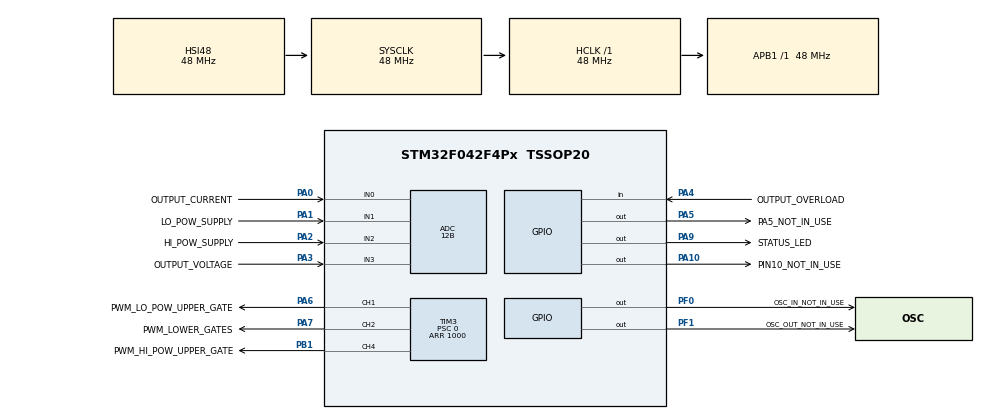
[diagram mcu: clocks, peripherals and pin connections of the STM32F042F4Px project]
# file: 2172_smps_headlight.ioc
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ADC.Channel-1\#ChannelRegularConversion=ADC_CHANNEL_1
ADC.Channel-2\#ChannelRegularConversion=ADC_CHANNEL_2
ADC.Channel-3\#ChannelRegularConversion=ADC_CHANNEL_3
ADC.Channel-IN0=ADC_CHANNEL_0
ADC.Channel-IN1=ADC_CHANNEL_1
ADC.Channel-IN2=ADC_CHANNEL_2
ADC.Channel-IN3=ADC_CHANNEL_3
ADC.ClockPrescaler=ADC_CLOCK_ASYNC_DIV1
ADC.ContinuousConvMode=ENABLE
ADC.DMAContinuousRequests=ENABLE
ADC.DataAlign=ADC_DATAALIGN_RIGHT
ADC.DiscontinuousConvMode=DISABLE
ADC.EOCSelection=ADC_EOC_SEQ_CONV
ADC.EnableAnalogWatchDog=false
ADC.ExternalTrigConv=ADC_SOFTWARE_START
ADC.ExternalTrigConvEdge=ADC_EXTERNALTRIGCONVEDGE_NONE
ADC.LowPowerAutoPowerOff=DISABLE
ADC.LowPowerAutoWait=DISABLE
ADC.NbrOfConversion=4
ADC.NbrOfConversionFlag=1
ADC.Overrun=ADC_OVR_DATA_PRESERVED
ADC.Rank-0\#ChannelRegularConversion=1
ADC.Rank-1\#ChannelRegularConversion=2
ADC.Rank-2\#ChannelRegularConversion=3
ADC.Rank-3\#ChannelRegularConversion=4
ADC.Resolution=ADC_RESOLUTION_12B
ADC.SamplingTime=ADC_SAMPLETIME_41CYCLES_5
ADC.ScanConvMode=ADC_SCAN_DIRECTION_FORWARD
ADC.master=1
Dma.ADC.0.Direction=DMA_PERIPH_TO_MEMORY
Dma.ADC.0.Instance=DMA1_Channel1
Dma.ADC.0.MemDataAlignment=DMA_MDATAALIGN_HALFWORD
Dma.ADC.0.MemInc=DMA_MINC_ENABLE
Dma.ADC.0.Mode=DMA_CIRCULAR
Dma.ADC.0.PeriphDataAlignment=DMA_PDATAALIGN_HALFWORD
Dma.ADC.0.PeriphInc=DMA_PINC_DISABLE
Dma.ADC.0.Priority=DMA_PRIORITY_LOW
Dma.Request0=ADC
Mcu.Family=STM32F0
Mcu.Name=STM32F042F4Px
Mcu.Package=TSSOP20
NVIC.ADC1_IRQn=true\:0\:0\:false\:false\:true\:true\:true
NVIC.DMA1_Channel1_IRQn=true\:0\:0\:false\:false\:true\:false\:true
NVIC.TIM3_IRQn=true\:0\:0\:false\:false\:true\:true\:true
PA0.GPIO_Label=OUTPUT_CURRENT
PA0.Mode=IN0
PA0.Signal=ADC_IN0
PA1.GPIO_Label=LO_POW_SUPPLY
PA1.Mode=IN1
PA1.Signal=ADC_IN1
PA10.GPIO_Label=PIN10_NOT_IN_USE
PA10.Signal=GPIO_Output
PA13.Mode=Serial_Wire
PA13.Signal=SYS_SWDIO
PA14.Mode=Serial_Wire
PA14.Signal=SYS_SWCLK
PA2.GPIO_Label=HI_POW_SUPPLY
PA2.Mode=IN2
PA2.Signal=ADC_IN2
PA3.GPIO_Label=OUTPUT_VOLTAGE
PA3.Mode=IN3
PA3.Signal=ADC_IN3
PA4.GPIO_Label=OUTPUT_OVERLOAD
PA4.Signal=GPIO_Input
PA5.GPIO_Label=PA5_NOT_IN_USE
PA5.Signal=GPIO_Output
PA6.GPIO_Label=PWM_LO_POW_UPPER_GATE
PA6.Signal=S_TIM3_CH1
PA7.GPIO_Label=PWM_LOWER_GATES
PA7.Signal=S_TIM3_CH2
PA9.GPIO_Label=STATUS_LED
PA9.Signal=GPIO_Output
PB1.GPIO_Label=PWM_HI_POW_UPPER_GATE
PB1.Signal=S_TIM3_CH4
PF0-OSC_IN.GPIO_Label=OSC_IN_NOT_IN_USE
PF0-OSC_IN.Signal=GPIO_Output
PF1-OSC_OUT.GPIO_Label=OSC_OUT_NOT_IN_USE
PF1-OSC_OUT.Signal=GPIO_Output
ProjectManager.HeapSize=0x200
ProjectManager.StackSize=0x400
ProjectManager.TargetToolchain=EWARM V8.32
RCC.AHBFreq_Value=48000000
RCC.APB1Freq_Value=48000000
RCC.APB1TimFreq_Value=48000000
RCC.FLatency=FLASH_LATENCY_1
RCC.HCLKFreq_Value=48000000
RCC.SYSCLKFreq_VALUE=48000000
RCC.SYSCLKSource=RCC_SYSCLKSOURCE_HSI48
SH.S_TIM3_CH1.0=TIM3_CH1,PWM Generation1 CH1
SH.S_TIM3_CH2.0=TIM3_CH2,PWM Generation2 CH2
SH.S_TIM3_CH4.0=TIM3_CH4,PWM Generation4 CH4
TIM3.AutoReloadPreload=TIM_AUTORELOAD_PRELOAD_DISABLE
TIM3.Channel-PWM\ Generation1\ CH1=TIM_CHANNEL_1
TIM3.Channel-PWM\ Generation2\ CH2=TIM_CHANNEL_2
TIM3.Channel-PWM\ Generation4\ CH4=TIM_CHANNEL_4
TIM3.ClockDivision=TIM_CLOCKDIVISION_DIV1
TIM3.CounterMode=TIM_COUNTERMODE_CENTERALIGNED3
TIM3.OC1Preload_PWM=ENABLE
TIM3.OC2Preload_PWM=ENABLE
TIM3.OC4Preload_PWM=ENABLE
TIM3.OCFastMode_PWM-PWM\ Generation1\ CH1=TIM_OCFAST_DISABLE
TIM3.OCFastMode_PWM-PWM\ Generation2\ CH2=TIM_OCFAST_DISABLE
TIM3.OCFastMode_PWM-PWM\ Generation4\ CH4=TIM_OCFAST_DISABLE
TIM3.OCMode_PWM-PWM\ Generation1\ CH1=TIM_OCMODE_PWM2
TIM3.OCMode_PWM-PWM\ Generation2\ CH2=TIM_OCMODE_PWM1
TIM3.OCMode_PWM-PWM\ Generation4\ CH4=TIM_OCMODE_PWM2
TIM3.OCPolarity_1=TIM_OCPOLARITY_LOW
TIM3.OCPolarity_2=TIM_OCPOLARITY_LOW
TIM3.OCPolarity_4=TIM_OCPOLARITY_LOW
TIM3.Period=1000
TIM3.Prescaler=0
TIM3.Pulse-PWM\ Generation1\ CH1=0
TIM3.Pulse-PWM\ Generation2\ CH2=0
TIM3.Pulse-PWM\ Generation4\ CH4=0
TIM3.TIM_MasterOutputTrigger=TIM_TRGO_UPDATE
TIM3.TIM_MasterSlaveMode=TIM_MASTERSLAVEMODE_DISABLE
VP_TIM3_VS_ClockSourceINT.Mode=Internal
board=custom

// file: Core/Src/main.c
/* USER CODE BEGIN Header */
/**
  ******************************************************************************
  * @file           : main.c
  * @brief          : Main program body
  ******************************************************************************
  * @attention
  *
  * <h2><center>&copy; Copyright (c) 2021 STMicroelectronics.
  * All rights reserved.</center></h2>
  *
  * This software component is licensed by ST under BSD 3-Clause license,
  * the "License"; You may not use this file except in compliance with the
  * License. You may obtain a copy of the License at:
  *                        opensource.org/licenses/BSD-3-Clause
  *
  ******************************************************************************
  */
/* USER CODE END Header */
#include "main.h"

/* USER CODE BEGIN PTD */
typedef struct {
	uint16_t		outCurrentFB;
	uint16_t 		loPowSupVolt;
	uint16_t 		hiPowSupVolt;
	uint16_t 		outVoltageFB;
} ProcVal_TypeDef;
typedef union {
	uint16_t 		codes[ADC_DMA_BUFFER_SIZE];
	ProcVal_TypeDef values;
} ADC_MapTypeDef;
typedef enum {
    ADC_IDLE,
    CONVERSION_COMPLETE
} ADC_StatusTypeDef;
typedef enum {
	LO_POW_SUPPLY,
	HI_POW_SUPPLY,
	SUPPLY_FAILURE
} POW_SupplyStatus;
typedef enum {
    START_UP,
    OVERLOAD,
    NORMAL,
    LOAD_TEST,
    HAULT
} DEV_OpModeTypeDef;
typedef enum {
	PID_IDLE,
	UPDATE_PENDING
} PID_StatusTypeDef;

/* USER CODE END PTD */

ADC_HandleTypeDef hadc;
DMA_HandleTypeDef hdma_adc;

TIM_HandleTypeDef htim3;

/* USER CODE BEGIN PV */

ADC_MapTypeDef		adcReadings;
ADC_StatusTypeDef   adcStatus               = ADC_IDLE;
PID_StatusTypeDef   pidStatus               = PID_IDLE;
DEV_OpModeTypeDef   devOpMode               = START_UP;
POW_SupplyStatus	supplyStatus            = SUPPLY_FAILURE;

uint16_t			pidSamplingCnt;
uint16_t			ledBlinkCnt;
uint8_t             numOfAttemptsCnt;
uint16_t            overloadTimeoutCnt;
uint32_t            startUpCnt;

uint32_t            activeUpperChannel      = TIM_CHANNEL_1;
uint32_t            activeLowerChannel      = TIM_CHANNEL_2;

int16_t				pidPulseWidth;
uint16_t			pwmPulseWidth;

int16_t				pidVLoopSetPoint;
int16_t				pidCLoopSetPoint;
int16_t				pidVLoopCtrlError;
int16_t             pidVLoopCtrlErrorD;
int16_t             pidCLoopCtrlError;
int16_t             pidCLoopCtrlErrorD;
int16_t             pidCLoopCtrlErrorDD;

uint8_t             startUpDelay            = 1;
uint16_t            ledBlinkDly;

uint16_t            movAvgArrPtr            = 0;
uint16_t            avgOutVoltFB[MOV_AVG_WINDOW];
uint16_t            avgOutCurrFB[MOV_AVG_WINDOW];
uint16_t            avgLoPowSupVolt;
uint16_t            avgHiPowSupVolt;
uint16_t            avgOutVoltageFB;
uint16_t            avgOutCurrentFB;
uint32_t            sumOutVoltFB;
uint32_t            sumOutCurrFB;

/* USER CODE END PV */

void SystemClock_Config(void);
static void MX_GPIO_Init(void);
static void MX_DMA_Init(void);
static void MX_ADC_Init(void);
static void MX_TIM3_Init(void);

int main(void)
{

  /* MCU Configuration--------------------------------------------------------*/

  /* Reset of all peripherals, Initializes the Flash interface and the Systick. */
  HAL_Init();

  /* Configure the system clock */
  SystemClock_Config();

  /* Initialize all configured peripherals */
  MX_GPIO_Init();
  MX_DMA_Init();
  MX_ADC_Init();
  MX_TIM3_Init();
  /* USER CODE BEGIN 2 */
    // Initiate continuous conversion with DMA
	HAL_ADC_Start_DMA(&hadc, (uint32_t*)&adcReadings.codes, ADC_DMA_BUFFER_SIZE);
    // Start all PWM channels
    __HAL_TIM_SET_COMPARE(&htim3, TIM_CHANNEL_4, 0);
    __HAL_TIM_SET_COMPARE(&htim3, TIM_CHANNEL_1, 0);
    __HAL_TIM_SET_COMPARE(&htim3, TIM_CHANNEL_2, PWM_PERIOD_CODE);
    HAL_TIM_PWM_Start(&htim3, TIM_CHANNEL_2);
    HAL_TIM_PWM_Start(&htim3, TIM_CHANNEL_1);
    HAL_TIM_PWM_Start(&htim3, TIM_CHANNEL_4);
    __HAL_TIM_ENABLE_IT(&htim3, TIM_IT_UPDATE);

  /* USER CODE END 2 */

  /* Infinite loop */
  /* USER CODE BEGIN WHILE */
  while (1)
  {
    if (startUpDelay == 1)
    {
        HAL_Delay(100);
        startUpDelay = 0;
    }
    if (adcStatus == CONVERSION_COMPLETE)
    {
        movAvgArrPtr = ++movAvgArrPtr == MOV_AVG_WINDOW ? 0 : movAvgArrPtr;

        sumOutVoltFB -= (uint32_t)avgOutVoltFB[movAvgArrPtr];
        avgOutVoltFB[movAvgArrPtr] = adcReadings.values.outVoltageFB;
        sumOutVoltFB += (uint32_t)avgOutVoltFB[movAvgArrPtr];

        sumOutCurrFB -= (uint32_t)avgOutCurrFB[movAvgArrPtr];
        avgOutCurrFB[movAvgArrPtr] = adcReadings.values.outCurrentFB;
        sumOutCurrFB += (uint32_t)avgOutCurrFB[movAvgArrPtr];

        avgOutVoltageFB = (uint32_t)(sumOutVoltFB / MOV_AVG_WINDOW);
        avgOutCurrentFB = (uint16_t)(sumOutCurrFB / MOV_AVG_WINDOW);

    }
    /* USER CODE END WHILE */

  }
}

void SystemClock_Config(void)
{
  RCC_OscInitTypeDef RCC_OscInitStruct = {0};
  RCC_ClkInitTypeDef RCC_ClkInitStruct = {0};

  /** Initializes the RCC Oscillators according to the specified parameters
  * in the RCC_OscInitTypeDef structure.
  */
  RCC_OscInitStruct.OscillatorType = RCC_OSCILLATORTYPE_HSI14|RCC_OSCILLATORTYPE_HSI48;
  RCC_OscInitStruct.HSI48State = RCC_HSI48_ON;
  RCC_OscInitStruct.HSI14State = RCC_HSI14_ON;
  RCC_OscInitStruct.HSI14CalibrationValue = 16;
  RCC_OscInitStruct.PLL.PLLState = RCC_PLL_NONE;
  if (HAL_RCC_OscConfig(&RCC_OscInitStruct) != HAL_OK)
  {
    Error_Handler();
  }
  /** Initializes the CPU, AHB and APB buses clocks
  */
  RCC_ClkInitStruct.ClockType = RCC_CLOCKTYPE_HCLK|RCC_CLOCKTYPE_SYSCLK
                              |RCC_CLOCKTYPE_PCLK1;
  RCC_ClkInitStruct.SYSCLKSource = RCC_SYSCLKSOURCE_HSI48;
  RCC_ClkInitStruct.AHBCLKDivider = RCC_SYSCLK_DIV1;
  RCC_ClkInitStruct.APB1CLKDivider = RCC_HCLK_DIV1;

  if (HAL_RCC_ClockConfig(&RCC_ClkInitStruct, FLASH_LATENCY_1) != HAL_OK)
  {
    Error_Handler();
  }
}

static void MX_ADC_Init(void)
{

  ADC_ChannelConfTypeDef sConfig = {0};

  /** Configure the global features of the ADC (Clock, Resolution, Data Alignment and number of conversion)
  */
  hadc.Instance = ADC1;
  hadc.Init.ClockPrescaler = ADC_CLOCK_ASYNC_DIV1;
  hadc.Init.Resolution = ADC_RESOLUTION_12B;
  hadc.Init.DataAlign = ADC_DATAALIGN_RIGHT;
  hadc.Init.ScanConvMode = ADC_SCAN_DIRECTION_FORWARD;
  hadc.Init.EOCSelection = ADC_EOC_SEQ_CONV;
  hadc.Init.LowPowerAutoWait = DISABLE;
  hadc.Init.LowPowerAutoPowerOff = DISABLE;
  hadc.Init.ContinuousConvMode = ENABLE;
  hadc.Init.DiscontinuousConvMode = DISABLE;
  hadc.Init.ExternalTrigConv = ADC_SOFTWARE_START;
  hadc.Init.ExternalTrigConvEdge = ADC_EXTERNALTRIGCONVEDGE_NONE;
  hadc.Init.DMAContinuousRequests = ENABLE;
  hadc.Init.Overrun = ADC_OVR_DATA_PRESERVED;
  if (HAL_ADC_Init(&hadc) != HAL_OK)
  {
    Error_Handler();
  }
  /** Configure for the selected ADC regular channel to be converted.
  */
  sConfig.Channel = ADC_CHANNEL_0;
  sConfig.Rank = ADC_RANK_CHANNEL_NUMBER;
  sConfig.SamplingTime = ADC_SAMPLETIME_41CYCLES_5;
  if (HAL_ADC_ConfigChannel(&hadc, &sConfig) != HAL_OK)
  {
    Error_Handler();
  }
  /** Configure for the selected ADC regular channel to be converted.
  */
  sConfig.Channel = ADC_CHANNEL_1;
  if (HAL_ADC_ConfigChannel(&hadc, &sConfig) != HAL_OK)
  {
    Error_Handler();
  }
  /** Configure for the selected ADC regular channel to be converted.
  */
  sConfig.Channel = ADC_CHANNEL_2;
  if (HAL_ADC_ConfigChannel(&hadc, &sConfig) != HAL_OK)
  {
    Error_Handler();
  }
  /** Configure for the selected ADC regular channel to be converted.
  */
  sConfig.Channel = ADC_CHANNEL_3;
  if (HAL_ADC_ConfigChannel(&hadc, &sConfig) != HAL_OK)
  {
    Error_Handler();
  }

}

static void MX_TIM3_Init(void)
{

  TIM_ClockConfigTypeDef sClockSourceConfig = {0};
  TIM_MasterConfigTypeDef sMasterConfig = {0};
  TIM_OC_InitTypeDef sConfigOC = {0};

  htim3.Instance = TIM3;
  htim3.Init.Prescaler = 0;
  htim3.Init.CounterMode = TIM_COUNTERMODE_CENTERALIGNED3;
  htim3.Init.Period = PWM_PERIOD_CODE;
  htim3.Init.ClockDivision = TIM_CLOCKDIVISION_DIV1;
  htim3.Init.AutoReloadPreload = TIM_AUTORELOAD_PRELOAD_DISABLE;
  if (HAL_TIM_Base_Init(&htim3) != HAL_OK)
  {
    Error_Handler();
  }
  sClockSourceConfig.ClockSource = TIM_CLOCKSOURCE_INTERNAL;
  if (HAL_TIM_ConfigClockSource(&htim3, &sClockSourceConfig) != HAL_OK)
  {
    Error_Handler();
  }
  if (HAL_TIM_PWM_Init(&htim3) != HAL_OK)
  {
    Error_Handler();
  }
  sMasterConfig.MasterOutputTrigger = TIM_TRGO_UPDATE;
  sMasterConfig.MasterSlaveMode = TIM_MASTERSLAVEMODE_DISABLE;
  if (HAL_TIMEx_MasterConfigSynchronization(&htim3, &sMasterConfig) != HAL_OK)
  {
    Error_Handler();
  }
  sConfigOC.OCMode = TIM_OCMODE_PWM2;
  sConfigOC.Pulse = 0;
  sConfigOC.OCPolarity = TIM_OCPOLARITY_LOW;
  sConfigOC.OCFastMode = TIM_OCFAST_DISABLE;
  if (HAL_TIM_PWM_ConfigChannel(&htim3, &sConfigOC, TIM_CHANNEL_1) != HAL_OK)
  {
    Error_Handler();
  }
  sConfigOC.OCMode = TIM_OCMODE_PWM1;
  if (HAL_TIM_PWM_ConfigChannel(&htim3, &sConfigOC, TIM_CHANNEL_2) != HAL_OK)
  {
    Error_Handler();
  }
  sConfigOC.OCMode = TIM_OCMODE_PWM2;
  if (HAL_TIM_PWM_ConfigChannel(&htim3, &sConfigOC, TIM_CHANNEL_4) != HAL_OK)
  {
    Error_Handler();
  }
  HAL_TIM_MspPostInit(&htim3);

}

static void MX_DMA_Init(void)
{

  /* DMA controller clock enable */
  __HAL_RCC_DMA1_CLK_ENABLE();

  /* DMA interrupt init */
  /* DMA1_Channel1_IRQn interrupt configuration */
  HAL_NVIC_SetPriority(DMA1_Channel1_IRQn, 0, 0);
  HAL_NVIC_EnableIRQ(DMA1_Channel1_IRQn);

}

static void MX_GPIO_Init(void)
{
  GPIO_InitTypeDef GPIO_InitStruct = {0};

  /* GPIO Ports Clock Enable */
  __HAL_RCC_GPIOF_CLK_ENABLE();
  __HAL_RCC_GPIOA_CLK_ENABLE();
  __HAL_RCC_GPIOB_CLK_ENABLE();

  /*Configure GPIO pin Output Level */
  HAL_GPIO_WritePin(GPIOF, OSC_IN_NOT_IN_USE_Pin|OSC_OUT_NOT_IN_USE_Pin, GPIO_PIN_RESET);

  /*Configure GPIO pin Output Level */
  HAL_GPIO_WritePin(GPIOA, PA5_NOT_IN_USE_Pin|STATUS_LED_Pin|PIN10_NOT_IN_USE_Pin, GPIO_PIN_RESET);

  /*Configure GPIO pins : OSC_IN_NOT_IN_USE_Pin OSC_OUT_NOT_IN_USE_Pin */
  GPIO_InitStruct.Pin = OSC_IN_NOT_IN_USE_Pin|OSC_OUT_NOT_IN_USE_Pin;
  GPIO_InitStruct.Mode = GPIO_MODE_OUTPUT_PP;
  GPIO_InitStruct.Pull = GPIO_NOPULL;
  GPIO_InitStruct.Speed = GPIO_SPEED_FREQ_LOW;
  HAL_GPIO_Init(GPIOF, &GPIO_InitStruct);

  /*Configure GPIO pin : OUTPUT_OVERLOAD_Pin */
  GPIO_InitStruct.Pin = OUTPUT_OVERLOAD_Pin;
  GPIO_InitStruct.Mode = GPIO_MODE_INPUT;
  GPIO_InitStruct.Pull = GPIO_NOPULL;
  HAL_GPIO_Init(OUTPUT_OVERLOAD_GPIO_Port, &GPIO_InitStruct);

  /*Configure GPIO pins : PA5_NOT_IN_USE_Pin STATUS_LED_Pin PIN10_NOT_IN_USE_Pin */
  GPIO_InitStruct.Pin = PA5_NOT_IN_USE_Pin|STATUS_LED_Pin|PIN10_NOT_IN_USE_Pin;
  GPIO_InitStruct.Mode = GPIO_MODE_OUTPUT_PP;
  GPIO_InitStruct.Pull = GPIO_NOPULL;
  GPIO_InitStruct.Speed = GPIO_SPEED_FREQ_LOW;
  HAL_GPIO_Init(GPIOA, &GPIO_InitStruct);

}

/* USER CODE BEGIN 4 */

void HAL_TIM_PeriodElapsedCallback(TIM_HandleTypeDef* htim)
{
	uint16_t        expectedScOutVolt;

    if (startUpDelay == 1) return;
    // Increment PID sampling counter and test for overflow
	// On PID sampling counter overflow, set UPDATE_PENDING flag
	// to tell the ADC interrupt routine that PID sampling time
	// has elapsed and PID needs to be updated
    pidSamplingCnt++;
	if (pidSamplingCnt > PID_PERIOD_CODE)
	{
		pidSamplingCnt = 0;
		pidStatus = UPDATE_PENDING;
	}

	ledBlinkCnt++;
	if (ledBlinkCnt > ledBlinkDly)
	{
        HAL_GPIO_TogglePin(STATUS_LED_GPIO_Port, STATUS_LED_Pin);
		ledBlinkCnt = 0;
	}

    switch (devOpMode)
    {
    case START_UP:
        startUpCnt++;
        overloadTimeoutCnt = 0;
    break;
    case OVERLOAD:
        startUpCnt = 0;
        overloadTimeoutCnt++;
    break;
    case LOAD_TEST:
        startUpCnt++;
        overloadTimeoutCnt = 0;
    break;
    case NORMAL:
        startUpCnt = 0;
        overloadTimeoutCnt = 0;
    break;
    }

    if (devOpMode == HAULT) return;

    if (pidStatus == UPDATE_PENDING)
    {
        //__disable_irq();
        // Get output voltage regulation error
        pidVLoopCtrlError = pidVLoopSetPoint - adcReadings.values.outVoltageFB;
        // Get output current regulation error
        pidCLoopCtrlError = pidCLoopSetPoint - adcReadings.values.outCurrentFB;

        switch (devOpMode)
        {
        case START_UP:
            if ((startUpCnt > START_UP_DLY) && (avgOutVoltageFB < 100))
            {
                devOpMode = OVERLOAD;
                pidPulseWidth = 0;
            }
            if (startUpCnt > OVERLOAD_DLY)
            {
                devOpMode = HAULT;
            }
            if ((avgOutVoltageFB > (pidVLoopSetPoint - 100)) ||
               ((avgOutVoltageFB < pidVLoopSetPoint) && (pwmPulseWidth > 465)))
            {
                devOpMode = NORMAL;
                numOfAttemptsCnt = 0;
            }
            pidPulseWidth = pidPulseWidth + (int16_t)(
                (pidCLoopCtrlError - pidCLoopCtrlErrorD) / PID_CLP_KP +
                (pidCLoopCtrlError + pidCLoopCtrlErrorD) / PID_CLP_KI +
                (pidCLoopCtrlError -
                 2 * pidCLoopCtrlErrorD + pidCLoopCtrlErrorDD) / PID_CLP_KD);
        break;
        case OVERLOAD:
            if (overloadTimeoutCnt > OVLD_TIMEOUT)
            {
                devOpMode = LOAD_TEST;
                numOfAttemptsCnt++;
            }
            if (numOfAttemptsCnt > NUM_OF_ATTEMPTS_TO_START)
            {
                devOpMode = HAULT;
            }
        break;
        case LOAD_TEST:
            if (adcReadings.values.outCurrentFB > pidCLoopSetPoint)
            {
                pidPulseWidth = 0;
            }
            else
            {
                pidPulseWidth = PID_TO_PWM * PWM_DEAD_TIME;
            }
            if (startUpCnt > START_UP_DLY)
            {
                expectedScOutVolt =
                    (uint16_t)(PWM_DEAD_TIME * adcReadings.values.loPowSupVolt / 1000);
                if (avgOutVoltageFB > expectedScOutVolt)
                {
                    devOpMode = START_UP;
                    startUpCnt = 0;
                }
                else
                {
                    devOpMode = OVERLOAD;
                    pidPulseWidth = 0;
                }
            }
        break;
        case NORMAL:
            if (avgOutCurrentFB > LOAD_CUR_UTHLD_CODE)
            {
                devOpMode = START_UP;
            }
            else if ((adcReadings.values.outVoltageFB < LOAD_SC_VOLT_CODE) &&
                     (adcReadings.values.outCurrentFB > LOAD_SC_CUR_CODE))
            {
                devOpMode = OVERLOAD;
                pidPulseWidth = 0;
                numOfAttemptsCnt = 0;
            }
            else
            {
                pidPulseWidth = pidPulseWidth + (int16_t)(
                    (pidVLoopCtrlError - pidVLoopCtrlErrorD) / PID_VLP_KP +
                    (pidVLoopCtrlError + pidVLoopCtrlErrorD) / PID_VLP_KI);
            }
        break;
        }

        pidCLoopCtrlErrorDD = pidCLoopCtrlErrorD;
        pidCLoopCtrlErrorD  = pidCLoopCtrlError;
        pidVLoopCtrlErrorD  = pidVLoopCtrlError;

        pidPulseWidth = PID_CHECK_UTHLD(pidPulseWidth);
        pidPulseWidth = PID_CHECK_LTHLD(pidPulseWidth);
        pwmPulseWidth = GET_PWM_PULSE(pidPulseWidth);
        pwmPulseWidth = PWM_CHECK_UTHLD(pwmPulseWidth);
        pwmPulseWidth = PWM_CHECK_LTHLD(pwmPulseWidth);
        // Reset pid-regulator status
        pidStatus = PID_IDLE;
        //__enable_irq();
    }
}

/*
 * @brief Conversion complete callback in non-blocking mode
 * @param hadc: pointer to the ADC handle
 * @retval None
 */
void HAL_ADC_ConvCpltCallback(ADC_HandleTypeDef* hadc)
{
    uint16_t        pwmUpperPulseWidth;
    uint16_t        pwmLowerPulseWidth;

    //if (startUpDelay == 1) return;
    adcStatus = CONVERSION_COMPLETE;
    pwmUpperPulseWidth = pwmPulseWidth;
    pwmLowerPulseWidth = pwmPulseWidth + 2 * PWM_DEAD_TIME;

    switch (supplyStatus)
    {
    case SUPPLY_FAILURE:
        ledBlinkDly = 5000;
        if (devOpMode == HAULT)
        {
            supplyStatus = SUPPLY_FAILURE;
            __HAL_TIM_SET_COMPARE(&htim3, TIM_CHANNEL_1, 0);
            __HAL_TIM_SET_COMPARE(&htim3, TIM_CHANNEL_4, 0);
        }
        else if (adcReadings.values.hiPowSupVolt > POW_HYST_UTHLD_CODE)
        {
            activeUpperChannel = TIM_CHANNEL_4;
            ledBlinkDly = 10000;
            pidVLoopSetPoint = PID_VLP_BRT_SP_CODE;
            pidCLoopSetPoint = PID_CLP_BRT_SP_CODE;
            __HAL_TIM_SET_COMPARE(&htim3, TIM_CHANNEL_1, 0);
            supplyStatus = HI_POW_SUPPLY;
            devOpMode = START_UP;
        }
        else if (adcReadings.values.loPowSupVolt > POW_HYST_UTHLD_CODE)
        {
            activeUpperChannel = TIM_CHANNEL_1;
            ledBlinkDly = 30000;
            pidVLoopSetPoint = PID_VLP_DIM_SP_CODE;
            pidCLoopSetPoint = PID_CLP_DIM_SP_CODE;
            __HAL_TIM_SET_COMPARE(&htim3, TIM_CHANNEL_4, 0);
            supplyStatus = LO_POW_SUPPLY;
            devOpMode = START_UP;
        }
    break;

    case HI_POW_SUPPLY:
        if ((devOpMode == HAULT) ||
            (adcReadings.values.hiPowSupVolt < POW_HYST_LTHLD_CODE))
        {
            supplyStatus = SUPPLY_FAILURE;
        }
        __HAL_TIM_SET_COMPARE(&htim3, activeUpperChannel, pwmUpperPulseWidth);
        __HAL_TIM_SET_COMPARE(&htim3, activeLowerChannel, pwmLowerPulseWidth);
    break;

    case LO_POW_SUPPLY:
        if ((devOpMode == HAULT) ||
            (adcReadings.values.loPowSupVolt < POW_HYST_LTHLD_CODE))
        {
            supplyStatus = SUPPLY_FAILURE;
        }
        __HAL_TIM_SET_COMPARE(&htim3, activeUpperChannel, pwmUpperPulseWidth);
        __HAL_TIM_SET_COMPARE(&htim3, activeLowerChannel, pwmLowerPulseWidth);
    break;
    }
}

/* USER CODE END 4 */

void Error_Handler(void)
{
  /* USER CODE BEGIN Error_Handler_Debug */
  /* User can add his own implementation to report the HAL error return state */
  __disable_irq();
  while (1)
  {
	  HAL_NVIC_SystemReset();
  }
  /* USER CODE END Error_Handler_Debug */
}

/************************ (C) COPYRIGHT STMicroelectronics *****END OF FILE****/
